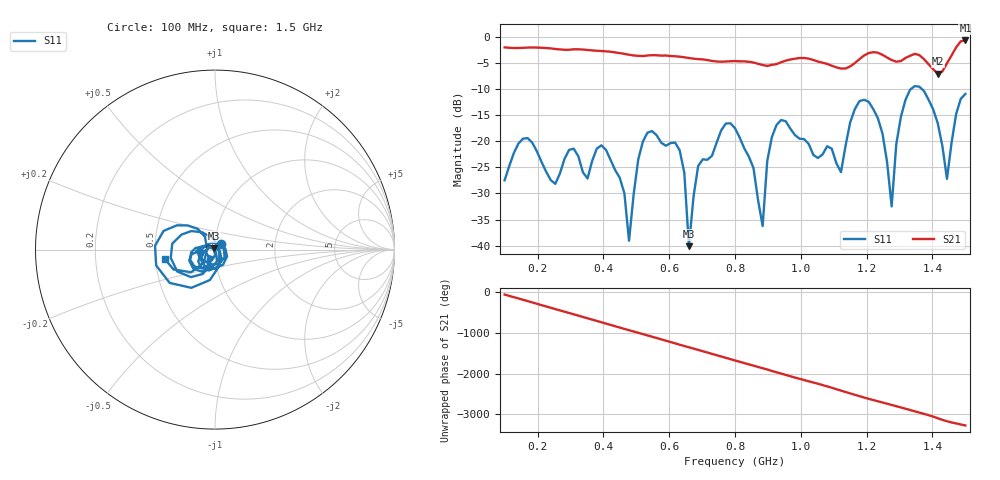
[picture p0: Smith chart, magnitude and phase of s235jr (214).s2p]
! NanoVNA-App
! Date: 2025-09-25 15:05:50
! Start: 100MHz Stop: 1,5GHz Points: 101
! S-Parameter data: F S11 S21 S12 S22
# Hz S RI R 50
!  Frequency  S11_Real  S11_Imag  S21_Real  S21_Imag  S12_Real  S12_Imag  S22_Real  S22_Imag
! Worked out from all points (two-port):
!   101 points, 100 MHz to 1.5 GHz, reference 50 ohm
!   highest |S21| = -0.63 dB at 1.5 GHz (marker M1); lowest = -7.0 dB at 1.416 GHz (marker M2)
!   |S21| within 3 dB of the highest: start of sweep to 519.1 MHz; 520.4 MHz to 608.3 MHz (87.92 MHz wide, 15.6 % of centre) (the widest 2 of 5)
!   lowest |S11| = -40.1 dB at 660 MHz (marker M3), VSWR 1.02, Z = 49.2 + j0.606 ohm
!   |S11| at or under -10 dB: start of sweep to 1.334 GHz; 1.369 GHz to end of sweep
!   S12 and S22 are empty: the file has one direction only
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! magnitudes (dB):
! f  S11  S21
! 100 MHz  -27.5  -2.0
! 170 MHz  -19.4  -2.0
! 338 MHz  -25.9  -2.4
! 408 MHz  -21.6  -2.7
! 478 MHz  -39.1  -3.4
! 520 MHz  -20.1  -3.6
! 576 MHz  -20.3  -3.5
! 632 MHz  -21.7  -3.7
! 660 MHz  -40.1  -4.0
! 688 MHz  -24.7  -4.2
! 800 MHz  -17.5  -4.6
! 884 MHz  -36.2  -5.3
! 926 MHz  -16.9  -5.2
! 1.038 GHz  -22.6  -4.4
! 1.122 GHz  -25.9  -6.0
! 1.206 GHz  -12.4  -3.1
! 1.276 GHz  -32.5  -4.4
! 1.29 GHz  -20.6  -4.7
! 1.332 GHz  -10.1  -3.6
! 1.416 GHz  -16.5  -7.0
! 1.444 GHz  -27.2  -5.0
! 1.5 GHz  -10.9  -0.6
